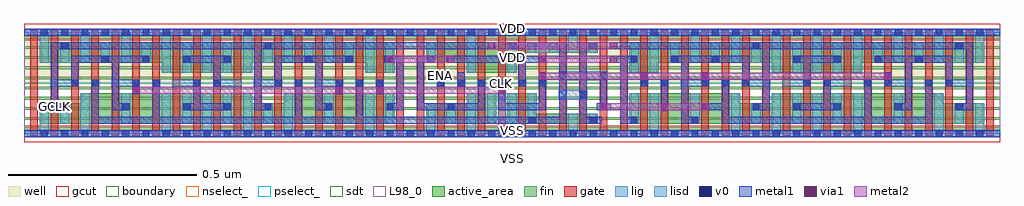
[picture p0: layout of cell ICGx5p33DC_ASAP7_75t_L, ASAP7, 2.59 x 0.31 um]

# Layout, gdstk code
import gdstk
lib = gdstk.Library(unit=1e-6, precision=2.5e-10)
def R(c, l, rs):  # rectangles x0, y0, x1, y1
    for r in rs: c.add(gdstk.rectangle(r[:2], r[2:], *l))
def A(c, l, x, y, w, h, nx, ny, dx, dy):  # array of equal rectangles
    R(c, l, [(x+i*dx, y+j*dy, x+i*dx+w, y+j*dy+h) for i in range(nx) for j in range(ny)])
def P(c, l, *ps):  # polygons
    for p in ps: c.add(gdstk.Polygon(p, *l))
well = (1, 0)
fin = (2, 0)
gate = (7, 0)
gcut = (10, 0)
active_area = (11, 0)
nselect_ = (12, 0)
pselect_ = (13, 0)
lig = (16, 0)
lisd = (17, 0)
v0 = (18, 0)
metal1 = (19, 0)
metal2 = (20, 0)
via1 = (21, 0)
sdt = (88, 0)
L98_0 = (98, 0)
boundary = (100, 0)

icgx5p33dc_asap7_75t_l = lib.new_cell('ICGx5p33DC_ASAP7_75t_L')
R(icgx5p33dc_asap7_75t_l, well, [(0,0.135,2.592,0.27)])
A(icgx5p33dc_asap7_75t_l, fin, 0, 0.01, 2.592, 0.007, 1, 10, 0, 0.027)
A(icgx5p33dc_asap7_75t_l, gate, 0.017, -0.005, 0.02, 0.28, 48, 1, 0.054, 0)
R(icgx5p33dc_asap7_75t_l, gcut, [(0,-0.022,2.592,0.022), (0,0.248,2.592,0.292)])
R(icgx5p33dc_asap7_75t_l, active_area, [(1.396,0.216,1.52,0.243)])
P(icgx5p33dc_asap7_75t_l, active_area, [(0.046,0.027),(0.046,0.081),(0.154,0.081),(0.154,0.108),(0.602,0.108),(0.602,0.081),(0.694,0.081),(0.694,0.108),(0.98,0.108),(0.98,0.027)],
  [(1.072,0.027),(1.072,0.081),(1.18,0.081),(1.18,0.108),(1.25,0.108),(1.25,0.027)],
  [(1.288,0.027),(1.288,0.108),(1.358,0.108),(1.358,0.054),(1.52,0.054),(1.52,0.027)],
  [(1.612,0.027),(1.612,0.108),(1.898,0.108),(1.898,0.081),(1.99,0.081),(1.99,0.108),(2.438,0.108),(2.438,0.081),(2.546,0.081),(2.546,0.027)],
  [(0.37,0.162),(0.37,0.189),(0.046,0.189),(0.046,0.243),(0.98,0.243),(0.98,0.162),(0.91,0.162),(0.91,0.189),(0.602,0.189),(0.602,0.162)],
  [(1.18,0.162),(1.18,0.189),(1.072,0.189),(1.072,0.243),(1.358,0.243),(1.358,0.216),(1.304,0.216),(1.304,0.162)],
  [(1.612,0.162),(1.612,0.243),(2.546,0.243),(2.546,0.189),(2.222,0.189),(2.222,0.162),(1.99,0.162),(1.99,0.189),(1.682,0.189),(1.682,0.162)])
R(icgx5p33dc_asap7_75t_l, nselect_, [(0,0,2.592,0.135)])
R(icgx5p33dc_asap7_75t_l, pselect_, [(0,0.135,2.592,0.27)])
A(icgx5p33dc_asap7_75t_l, lig, 0.826, 0.126, 0.022, 0.018, 3, 1, 0.054, 0)
A(icgx5p33dc_asap7_75t_l, lig, 1.096, 0.126, 0.022, 0.018, 6, 1, 0.054, 0)
A(icgx5p33dc_asap7_75t_l, lig, 1.798, 0.126, 0.022, 0.018, 3, 1, 0.054, 0)
A(icgx5p33dc_asap7_75t_l, lig, 0.07, 0.127, 0.076, 0.016, 3, 1, 0.162, 0)
A(icgx5p33dc_asap7_75t_l, lig, 1.906, 0.127, 0.076, 0.016, 3, 1, 0.108, 0)
R(icgx5p33dc_asap7_75t_l, lig, [(0,-0.008,2.592,0.008), (1.42,0.095,1.442,0.113), (0.124,0.126,0.146,0.144), (0.178,0.126,0.2,0.144), (0.286,0.126,0.308,0.144), (0.34,0.126,0.362,0.144), (0.448,0.126,0.47,0.144), (0.502,0.126,0.524,0.144), (0.664,0.126,0.686,0.144), (0.718,0.126,0.74,0.144), (1.636,0.126,1.658,0.144), (1.69,0.126,1.712,0.144), (2.068,0.126,2.09,0.144), (2.122,0.126,2.144,0.144), (2.23,0.126,2.252,0.144), (2.284,0.126,2.306,0.144), (2.392,0.126,2.414,0.144), (2.446,0.126,2.468,0.144), (0.502,0.127,0.578,0.143), (0.61,0.127,0.686,0.143), (0.772,0.127,0.848,0.143), (1.744,0.127,1.82,0.143), (2.284,0.127,2.36,0.143), (2.446,0.127,2.522,0.143), (1.474,0.145,1.496,0.163), (0,0.262,2.592,0.278)])
A(icgx5p33dc_asap7_75t_l, lisd, 0.96, 0.162, 0.024, 0.081, 3, 1, 0.324, 0)
A(icgx5p33dc_asap7_75t_l, lisd, 0.096, 0.189, 0.024, 0.054, 3, 1, 0.108, 0)
A(icgx5p33dc_asap7_75t_l, lisd, 0.636, 0.189, 0.024, 0.054, 3, 1, 0.108, 0)
A(icgx5p33dc_asap7_75t_l, lisd, 1.716, 0.189, 0.024, 0.054, 3, 1, 0.108, 0)
A(icgx5p33dc_asap7_75t_l, lisd, 2.256, 0.189, 0.024, 0.054, 3, 1, 0.108, 0)
R(icgx5p33dc_asap7_75t_l, lisd, [(0.042,0,0.066,0.081), (0.042,0,0.066,0.081), (0.15,0,0.174,0.108), (0.15,0,0.174,0.108), (0.366,0,0.39,0.108), (0.366,0,0.39,0.108), (0.474,0,0.498,0.108), (0.474,0,0.498,0.108), (0.582,0,0.606,0.108), (0.582,0,0.606,0.108), (0.69,0,0.714,0.108), (0.69,0,0.714,0.108), (0.906,0,0.93,0.108), (0.906,0,0.93,0.108), (1.068,0,1.092,0.081), (1.068,0,1.092,0.081), (1.176,0,1.2,0.108), (1.176,0,1.2,0.108), (1.446,0,1.47,0.054), (1.662,0,1.686,0.108), (1.662,0,1.686,0.108), (1.878,0,1.902,0.108), (1.878,0,1.902,0.108), (1.986,0,2.01,0.108), (1.986,0,2.01,0.108), (2.094,0,2.118,0.108), (2.094,0,2.118,0.108), (2.202,0,2.226,0.108), (2.202,0,2.226,0.108), (2.418,0,2.442,0.108), (2.418,0,2.442,0.108), (2.526,0,2.55,0.081), (2.526,0,2.55,0.081), (0.096,0.027,0.12,0.081), (0.258,0.027,0.282,0.108), (0.42,0.027,0.444,0.108), (0.528,0.027,0.552,0.108), (0.636,0.027,0.66,0.081), (0.798,0.027,0.822,0.108), (0.96,0.027,0.984,0.108), (1.122,0.027,1.146,0.081), (1.23,0.027,1.308,0.108), (1.338,0.027,1.362,0.108), (1.5,0.027,1.524,0.054), (1.608,0.027,1.632,0.108), (1.77,0.027,1.794,0.108), (1.932,0.027,1.956,0.081), (2.04,0.027,2.064,0.108), (2.148,0.027,2.172,0.108), (2.31,0.027,2.334,0.108), (2.472,0.027,2.496,0.081), (1.42,0.092,1.496,0.116), (1.42,0.142,1.55,0.166), (0.366,0.162,0.39,0.27), (0.366,0.162,0.39,0.27), (0.42,0.162,0.444,0.243), (0.474,0.162,0.498,0.27), (0.474,0.162,0.498,0.27), (0.528,0.162,0.552,0.243), (0.582,0.162,0.606,0.27), (0.582,0.162,0.606,0.27), (0.906,0.162,0.93,0.27), (0.906,0.162,0.93,0.27), (1.176,0.162,1.2,0.27), (1.176,0.162,1.2,0.27), (1.662,0.162,1.686,0.27), (1.662,0.162,1.686,0.27), (1.986,0.162,2.01,0.27), (1.986,0.162,2.01,0.27), (2.04,0.162,2.064,0.243), (2.094,0.162,2.118,0.27), (2.094,0.162,2.118,0.27), (2.148,0.162,2.172,0.243), (2.202,0.162,2.226,0.27), (2.202,0.162,2.226,0.27), (0.042,0.189,0.066,0.27), (0.042,0.189,0.066,0.27), (0.15,0.189,0.174,0.27), (0.15,0.189,0.174,0.27), (0.258,0.189,0.282,0.27), (0.258,0.189,0.282,0.27), (0.69,0.189,0.714,0.27), (0.69,0.189,0.714,0.27), (0.798,0.189,0.822,0.27), (0.798,0.189,0.822,0.27), (1.068,0.189,1.092,0.243), (1.77,0.189,1.794,0.27), (1.77,0.189,1.794,0.27), (1.878,0.189,1.902,0.27), (1.878,0.189,1.902,0.27), (2.31,0.189,2.334,0.27), (2.31,0.189,2.334,0.27), (2.418,0.189,2.442,0.27), (2.418,0.189,2.442,0.27), (2.526,0.189,2.55,0.27), (2.526,0.189,2.55,0.27), (1.338,0.216,1.416,0.243), (1.446,0.216,1.47,0.27), (1.5,0.216,1.524,0.243)])
A(icgx5p33dc_asap7_75t_l, v0, 0.045, -0.009, 0.018, 0.018, 47, 2, 0.054, 0.27)
A(icgx5p33dc_asap7_75t_l, v0, 0.099, 0.063, 0.018, 0.018, 3, 1, 0.162, 0)
A(icgx5p33dc_asap7_75t_l, v0, 0.639, 0.063, 0.018, 0.018, 4, 1, 0.162, 0)
A(icgx5p33dc_asap7_75t_l, v0, 1.935, 0.063, 0.018, 0.018, 3, 1, 0.108, 0)
A(icgx5p33dc_asap7_75t_l, v0, 0.828, 0.126, 0.018, 0.018, 3, 1, 0.054, 0)
A(icgx5p33dc_asap7_75t_l, v0, 1.098, 0.126, 0.018, 0.018, 6, 1, 0.054, 0)
A(icgx5p33dc_asap7_75t_l, v0, 1.8, 0.126, 0.018, 0.018, 3, 1, 0.054, 0)
A(icgx5p33dc_asap7_75t_l, v0, 0.207, 0.189, 0.018, 0.018, 4, 1, 0.108, 0)
A(icgx5p33dc_asap7_75t_l, v0, 0.747, 0.189, 0.018, 0.018, 4, 1, 0.108, 0)
A(icgx5p33dc_asap7_75t_l, v0, 1.611, 0.189, 0.018, 0.018, 3, 1, 0.108, 0)
A(icgx5p33dc_asap7_75t_l, v0, 2.043, 0.189, 0.018, 0.018, 4, 1, 0.108, 0)
R(icgx5p33dc_asap7_75t_l, v0, [(1.341,0.027,1.359,0.045), (1.503,0.027,1.521,0.045), (1.611,0.027,1.629,0.045), (1.773,0.027,1.791,0.045), (0.531,0.063,0.549,0.081), (2.313,0.063,2.331,0.081), (2.475,0.063,2.493,0.081), (1.476,0.095,1.494,0.113), (0.126,0.126,0.144,0.144), (0.18,0.126,0.198,0.144), (0.288,0.126,0.306,0.144), (0.342,0.126,0.36,0.144), (0.45,0.126,0.468,0.144), (0.504,0.126,0.522,0.144), (0.666,0.126,0.684,0.144), (0.72,0.126,0.738,0.144), (1.638,0.126,1.656,0.144), (1.692,0.126,1.71,0.144), (2.07,0.126,2.088,0.144), (2.124,0.126,2.142,0.144), (2.232,0.126,2.25,0.144), (2.286,0.126,2.304,0.144), (2.394,0.126,2.412,0.144), (2.448,0.126,2.466,0.144), (1.422,0.145,1.44,0.163), (1.53,0.145,1.548,0.163), (0.099,0.225,0.117,0.243), (0.639,0.225,0.657,0.243), (1.287,0.225,1.305,0.243), (1.503,0.225,1.521,0.243), (1.935,0.225,1.953,0.243), (2.475,0.225,2.493,0.243)])
A(icgx5p33dc_asap7_75t_l, metal1, 0.099, 0.063, 0.018, 0.018, 3, 1, 0.162, 0)
A(icgx5p33dc_asap7_75t_l, metal1, 0.639, 0.063, 0.018, 0.018, 4, 1, 0.162, 0)
A(icgx5p33dc_asap7_75t_l, metal1, 1.935, 0.063, 0.018, 0.018, 3, 1, 0.108, 0)
A(icgx5p33dc_asap7_75t_l, metal1, 0.828, 0.126, 0.018, 0.018, 3, 1, 0.054, 0)
A(icgx5p33dc_asap7_75t_l, metal1, 1.098, 0.126, 0.018, 0.018, 6, 1, 0.054, 0)
A(icgx5p33dc_asap7_75t_l, metal1, 1.8, 0.126, 0.018, 0.018, 3, 1, 0.054, 0)
A(icgx5p33dc_asap7_75t_l, metal1, 0.207, 0.189, 0.018, 0.018, 4, 1, 0.108, 0)
A(icgx5p33dc_asap7_75t_l, metal1, 0.747, 0.189, 0.018, 0.018, 4, 1, 0.108, 0)
A(icgx5p33dc_asap7_75t_l, metal1, 1.611, 0.189, 0.018, 0.018, 3, 1, 0.108, 0)
A(icgx5p33dc_asap7_75t_l, metal1, 2.043, 0.189, 0.018, 0.018, 4, 1, 0.108, 0)
R(icgx5p33dc_asap7_75t_l, metal1, [(0,-0.009,2.592,0.009), (1.341,0.027,1.359,0.045), (1.611,0.027,1.629,0.045), (1.773,0.027,1.791,0.045), (1.692,0.061,1.71,0.081), (0.531,0.063,0.549,0.081), (1.521,0.063,1.558,0.081), (1.53,0.063,1.548,0.163), (1.692,0.063,1.71,0.144), (2.313,0.063,2.331,0.081), (2.475,0.063,2.493,0.081), (1.476,0.095,1.494,0.113), (0.288,0.105,0.306,0.125), (0.828,0.105,0.846,0.125), (0.936,0.105,0.954,0.125), (0.288,0.107,0.306,0.144), (0.828,0.107,0.846,0.144), (0.936,0.107,0.954,0.144), (1.26,0.107,1.278,0.125), (0.126,0.126,0.144,0.144), (0.18,0.126,0.198,0.144), (0.288,0.126,0.306,0.144), (0.342,0.126,0.36,0.144), (0.45,0.126,0.468,0.144), (0.504,0.126,0.522,0.144), (0.666,0.126,0.684,0.144), (0.72,0.126,0.738,0.144), (1.098,0.126,1.116,0.163), (1.152,0.126,1.17,0.163), (1.638,0.126,1.656,0.144), (1.638,0.126,1.656,0.163), (1.692,0.126,1.71,0.144), (1.8,0.126,1.818,0.163), (2.07,0.126,2.088,0.144), (2.124,0.126,2.142,0.144), (2.232,0.126,2.25,0.144), (2.286,0.126,2.304,0.144), (2.286,0.126,2.304,0.163), (2.394,0.126,2.412,0.144), (2.448,0.126,2.466,0.144), (1.368,0.144,1.386,0.164), (1.638,0.144,1.656,0.164), (1.8,0.144,1.818,0.164), (2.286,0.144,2.304,0.164), (1.422,0.145,1.44,0.163), (1.53,0.145,1.548,0.163), (0.957,0.189,0.983,0.207), (1.123,0.189,1.145,0.207), (1.368,0.189,1.386,0.207), (0.099,0.225,0.117,0.243), (0.639,0.225,0.657,0.243), (1.233,0.225,1.251,0.243), (1.287,0.225,1.305,0.243), (1.503,0.225,1.521,0.243), (1.555,0.225,1.577,0.243), (1.935,0.225,1.953,0.243), (2.475,0.225,2.493,0.243), (0,0.261,2.592,0.279)])
P(icgx5p33dc_asap7_75t_l, metal1, [(1.584,0.027),(1.584,0.189),(1.555,0.189),(1.555,0.207),(1.629,0.207),(1.629,0.189),(1.602,0.189),(1.602,0.045),(1.629,0.045),(1.629,0.027)],
  [(1.476,0.027),(1.476,0.243),(1.521,0.243),(1.521,0.225),(1.494,0.225),(1.494,0.045),(1.535,0.045),(1.535,0.027)],
  [(0.234,0.063),(0.234,0.189),(0.144,0.189),(0.144,0.126),(0.126,0.126),(0.126,0.207),(0.333,0.207),(0.333,0.189),(0.252,0.189),(0.252,0.081),(0.279,0.081),(0.279,0.063)],
  [(0.423,0.063),(0.423,0.081),(0.45,0.081),(0.45,0.144),(0.468,0.144),(0.468,0.081),(0.549,0.081),(0.549,0.063)],
  [(0.504,0.126),(0.504,0.189),(0.423,0.189),(0.423,0.207),(0.549,0.207),(0.549,0.189),(0.522,0.189),(0.522,0.126)],
  [(0.774,0.063),(0.774,0.189),(0.684,0.189),(0.684,0.126),(0.666,0.126),(0.666,0.207),(0.873,0.207),(0.873,0.189),(0.792,0.189),(0.792,0.081),(0.819,0.081),(0.819,0.063)],
  [(1.044,0.063),(1.044,0.207),(1.089,0.207),(1.089,0.189),(1.062,0.189),(1.062,0.081),(1.206,0.081),(1.206,0.144),(1.224,0.144),(1.224,0.063)],
  [(1.314,0.126),(1.314,0.189),(1.125,0.189),(1.125,0.207),(1.386,0.207),(1.386,0.189),(1.332,0.189),(1.332,0.126)],
  [(0.963,0.063),(0.963,0.081),(0.99,0.081),(0.99,0.189),(0.963,0.189),(0.963,0.207),(1.008,0.207),(1.008,0.063)],
  [(1.746,0.027),(1.746,0.189),(1.719,0.189),(1.719,0.207),(1.926,0.207),(1.926,0.126),(1.908,0.126),(1.908,0.189),(1.764,0.189),(1.764,0.045),(1.791,0.045),(1.791,0.027)],
  [(2.07,0.126),(2.07,0.189),(2.043,0.189),(2.043,0.207),(2.169,0.207),(2.169,0.189),(2.088,0.189),(2.088,0.126)],
  [(2.043,0.063),(2.043,0.081),(2.124,0.081),(2.124,0.144),(2.142,0.144),(2.142,0.081),(2.169,0.081),(2.169,0.063)],
  [(0.072,0.063),(0.072,0.243),(1.251,0.243),(1.251,0.225),(0.63,0.225),(0.63,0.081),(0.657,0.081),(0.657,0.063),(0.612,0.063),(0.612,0.225),(0.09,0.225),(0.09,0.081),(0.117,0.081),(0.117,0.063)],
  [(1.935,0.063),(1.935,0.081),(1.962,0.081),(1.962,0.225),(1.557,0.225),(1.557,0.243),(2.52,0.243),(2.52,0.063),(2.475,0.063),(2.475,0.081),(2.502,0.081),(2.502,0.225),(1.98,0.225),(1.98,0.063)],
  [(2.313,0.063),(2.313,0.081),(2.34,0.081),(2.34,0.189),(2.259,0.189),(2.259,0.207),(2.466,0.207),(2.466,0.126),(2.448,0.126),(2.448,0.189),(2.358,0.189),(2.358,0.063)],
  [(0.18,0.027),(0.18,0.144),(0.198,0.144),(0.198,0.045),(0.342,0.045),(0.342,0.144),(0.36,0.144),(0.36,0.045),(0.72,0.045),(0.72,0.144),(0.738,0.144),(0.738,0.045),(0.882,0.045),(0.882,0.144),(0.9,0.144),(0.9,0.045),(1.422,0.045),(1.422,0.225),(1.287,0.225),(1.287,0.243),(1.44,0.243),(1.44,0.027)],
  [(1.854,0.027),(1.854,0.063),(1.8,0.063),(1.8,0.081),(1.854,0.081),(1.854,0.144),(1.872,0.144),(1.872,0.045),(2.232,0.045),(2.232,0.144),(2.25,0.144),(2.25,0.045),(2.394,0.045),(2.394,0.144),(2.412,0.144),(2.412,0.027)],
  [(1.26,0.063),(1.26,0.144),(1.278,0.144),(1.278,0.081),(1.368,0.081),(1.368,0.163),(1.386,0.163),(1.386,0.063)])
R(icgx5p33dc_asap7_75t_l, metal2, [(1.53,0.063,1.82,0.081), (0.288,0.107,1.278,0.125), (1.368,0.144,2.304,0.162), (0.963,0.189,1.143,0.207), (1.366,0.189,1.575,0.207), (1.231,0.225,1.575,0.243)])
R(icgx5p33dc_asap7_75t_l, via1, [(1.53,0.063,1.548,0.081), (1.692,0.063,1.71,0.081), (1.802,0.063,1.82,0.081), (0.288,0.107,0.306,0.125), (0.828,0.107,0.846,0.125), (0.936,0.107,0.954,0.125), (1.26,0.107,1.278,0.125), (1.368,0.144,1.386,0.162), (1.638,0.144,1.656,0.162), (1.8,0.144,1.818,0.162), (2.286,0.144,2.304,0.162), (0.963,0.189,0.981,0.207), (1.125,0.189,1.143,0.207), (1.366,0.189,1.384,0.207), (1.557,0.189,1.575,0.207), (1.231,0.225,1.249,0.243), (1.557,0.225,1.575,0.243)])
A(icgx5p33dc_asap7_75t_l, sdt, 0.15, 0.027, 0.024, 0.081, 3, 1, 0.108, 0)
A(icgx5p33dc_asap7_75t_l, sdt, 0.366, 0.027, 0.024, 0.081, 3, 2, 0.054, 0.135)
A(icgx5p33dc_asap7_75t_l, sdt, 0.474, 0.027, 0.024, 0.081, 3, 2, 0.054, 0.135)
A(icgx5p33dc_asap7_75t_l, sdt, 0.69, 0.027, 0.024, 0.081, 3, 1, 0.108, 0)
A(icgx5p33dc_asap7_75t_l, sdt, 1.176, 0.027, 0.024, 0.081, 4, 1, 0.054, 0)
A(icgx5p33dc_asap7_75t_l, sdt, 1.662, 0.027, 0.024, 0.081, 3, 1, 0.108, 0)
A(icgx5p33dc_asap7_75t_l, sdt, 1.986, 0.027, 0.024, 0.081, 3, 2, 0.054, 0.135)
A(icgx5p33dc_asap7_75t_l, sdt, 2.094, 0.027, 0.024, 0.081, 3, 2, 0.054, 0.135)
A(icgx5p33dc_asap7_75t_l, sdt, 2.202, 0.027, 0.024, 0.081, 3, 1, 0.108, 0)
A(icgx5p33dc_asap7_75t_l, sdt, 0.042, 0.189, 0.024, 0.054, 3, 1, 0.054, 0)
A(icgx5p33dc_asap7_75t_l, sdt, 0.15, 0.189, 0.024, 0.054, 3, 1, 0.054, 0)
A(icgx5p33dc_asap7_75t_l, sdt, 0.69, 0.189, 0.024, 0.054, 3, 1, 0.054, 0)
A(icgx5p33dc_asap7_75t_l, sdt, 1.77, 0.189, 0.024, 0.054, 3, 1, 0.054, 0)
A(icgx5p33dc_asap7_75t_l, sdt, 2.31, 0.189, 0.024, 0.054, 3, 1, 0.054, 0)
A(icgx5p33dc_asap7_75t_l, sdt, 2.418, 0.189, 0.024, 0.054, 3, 1, 0.054, 0)
A(icgx5p33dc_asap7_75t_l, sdt, 1.338, 0.216, 0.024, 0.027, 4, 1, 0.054, 0)
R(icgx5p33dc_asap7_75t_l, sdt, [(0.042,0.027,0.066,0.081), (0.042,0.027,0.066,0.081), (0.096,0.027,0.12,0.081), (0.15,0.027,0.174,0.108), (0.582,0.027,0.606,0.108), (0.636,0.027,0.66,0.081), (0.69,0.027,0.714,0.108), (0.906,0.027,0.93,0.108), (0.96,0.027,0.984,0.108), (1.068,0.027,1.092,0.081), (1.068,0.027,1.092,0.081), (1.122,0.027,1.146,0.081), (1.176,0.027,1.2,0.108), (1.446,0.027,1.47,0.054), (1.5,0.027,1.524,0.054), (1.608,0.027,1.632,0.108), (1.662,0.027,1.686,0.108), (1.878,0.027,1.902,0.108), (1.932,0.027,1.956,0.081), (1.986,0.027,2.01,0.108), (2.418,0.027,2.442,0.108), (2.472,0.027,2.496,0.081), (2.526,0.027,2.55,0.081), (2.526,0.027,2.55,0.081), (0.366,0.162,0.39,0.243), (0.582,0.162,0.606,0.243), (0.906,0.162,0.93,0.243), (0.906,0.162,0.93,0.243), (0.96,0.162,0.984,0.243), (1.176,0.162,1.2,0.243), (1.176,0.162,1.2,0.243), (1.284,0.162,1.308,0.243), (1.608,0.162,1.632,0.243), (1.662,0.162,1.686,0.243), (1.662,0.162,1.686,0.243), (1.986,0.162,2.01,0.243), (2.202,0.162,2.226,0.243), (0.042,0.189,0.066,0.243), (0.258,0.189,0.282,0.243), (0.312,0.189,0.336,0.243), (0.636,0.189,0.66,0.243), (0.69,0.189,0.714,0.243), (0.798,0.189,0.822,0.243), (0.852,0.189,0.876,0.243), (1.068,0.189,1.092,0.243), (1.716,0.189,1.74,0.243), (1.77,0.189,1.794,0.243), (1.878,0.189,1.902,0.243), (1.932,0.189,1.956,0.243), (2.256,0.189,2.28,0.243), (2.31,0.189,2.334,0.243), (2.526,0.189,2.55,0.243)])
R(icgx5p33dc_asap7_75t_l, L98_0, [(0,0,2.592,0.27)])
R(icgx5p33dc_asap7_75t_l, boundary, [(0,0,2.592,0.27)])
icgx5p33dc_asap7_75t_l.add(gdstk.Label('VDD', (1.296,0.2025), layer=1, texttype=251))
icgx5p33dc_asap7_75t_l.add(gdstk.Label('VSS', (1.296,-0.0675), layer=3, texttype=251))
icgx5p33dc_asap7_75t_l.add(gdstk.Label('VSS', (1.296,0.009), layer=19, texttype=251))
icgx5p33dc_asap7_75t_l.add(gdstk.Label('VDD', (1.296,0.279), layer=19, texttype=251))
icgx5p33dc_asap7_75t_l.add(gdstk.Label('ENA', (1.107,0.154), layer=19, texttype=251))
icgx5p33dc_asap7_75t_l.add(gdstk.Label('SE', (1.161,0.135), layer=19, texttype=251))
icgx5p33dc_asap7_75t_l.add(gdstk.Label('GCLK', (0.081,0.072), layer=19, texttype=251))
icgx5p33dc_asap7_75t_l.add(gdstk.Label('CLK', (1.269,0.135), layer=19, texttype=251))

lib.write_gds('ICGx5p33DC_ASAP7_75t_L.gds')
